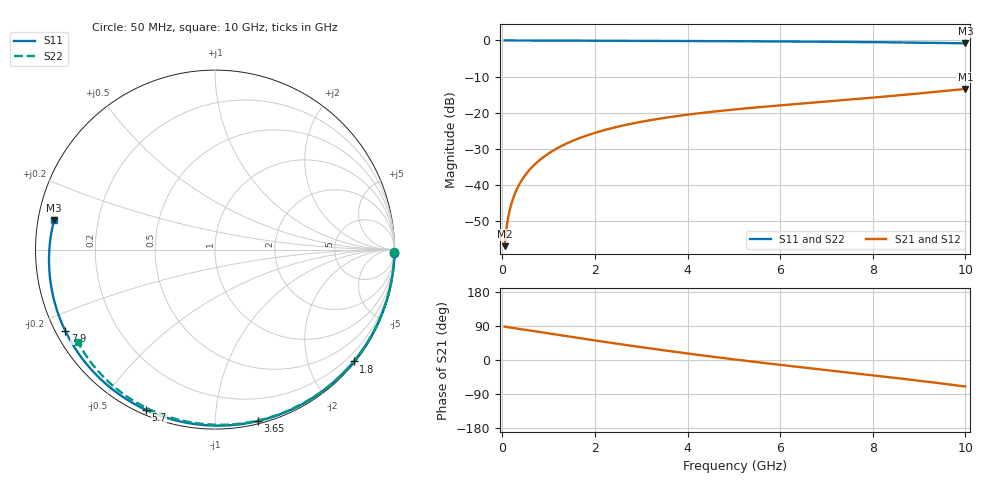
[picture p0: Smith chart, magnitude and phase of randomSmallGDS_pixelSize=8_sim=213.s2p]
! freq	dB(S11)	phase(S11)	dB(S12)	phase(S12)
!  dB(S21)	phase(S21)	dB(S22)	phase(S22)
!S-par simulation data
#  GHz  S  DB  R 50
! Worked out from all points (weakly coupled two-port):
!   200 points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, 50 MHz to 10 GHz, reference 50 ohm
!   highest |S21| = -13.38 dB at 10 GHz (marker M1); lowest = -56.8 dB at 50 MHz (marker M2)
!   lowest |S11| = -0.8 dB at 10 GHz (marker M3), VSWR 21.62, Z = 2.33 + j4.54 ohm
!   |S11| at or under -10 dB: nowhere
!   |S22| runs from -0.7 to 0.0 dB; largest |S21 - S12| = 0
!   S11 on the Smith chart (normalised r, x): 50 MHz: open; 1.8 GHz: 0.03, -2.83; 3.65 GHz: 0.02, -1.28; 5.7 GHz: 0.02, -0.66; 7.9 GHz: 0.03, -0.25; 10 GHz: 0.05, +0.09
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0.05  -0.00 -1.1  -56.82 88.4  -56.82 88.4  -0.00 -0.9
0.1  -0.00 -2.2  -50.86 87.1  -50.86 87.1  -0.00 -1.7
0.15  -0.00 -3.3  -47.40 86.0  -47.40 86.0  -0.00 -2.6
0.2  -0.00 -4.4  -44.95 85.0  -44.95 85.0  -0.00 -3.4
0.35  -0.01 -7.7  -40.18 82.3  -40.18 82.3  -0.00 -6.0
0.5  -0.01 -11.0  -37.12 79.6  -37.12 79.6  -0.01 -8.6
0.7  -0.02 -15.4  -34.25 75.9  -34.25 75.9  -0.01 -12.0
1  -0.03 -21.9  -31.22 70.2  -31.22 70.2  -0.02 -17.0
1.35  -0.04 -29.3  -28.70 63.6  -28.70 63.6  -0.03 -22.9
1.75  -0.06 -37.8  -26.59 56.2  -26.59 56.2  -0.05 -29.5
1.8  -0.06 -38.9  -26.36 55.3  -26.36 55.3  -0.05 -30.3
2.6  -0.09 -55.3  -23.51 40.8  -23.51 40.8  -0.07 -43.3
3.4  -0.12 -71.2  -21.59 27.0  -21.59 27.0  -0.10 -55.9
3.65  -0.13 -76.0  -21.11 22.9  -21.11 22.9  -0.11 -59.7
4.35  -0.17 -89.1  -19.96 11.6  -19.96 11.6  -0.14 -70.2
5.05  -0.20 -101.9  -19.02 0.9  -19.02 0.9  -0.17 -80.4
5.7  -0.25 -113.4  -18.26 -8.5  -18.26 -8.5  -0.21 -89.6
6.7  -0.33 -130.7  -17.19 -22.6  -17.19 -22.6  -0.28 -103.2
7.9  -0.45 -151.4  -15.90 -39.0  -15.90 -39.0  -0.39 -119.0
8.35  -0.51 -159.3  -15.40 -45.3  -15.40 -45.3  -0.44 -124.8
9.2  -0.65 -174.8  -14.39 -57.6  -14.39 -57.6  -0.56 -135.6
10  -0.80 169.6  -13.38 -70.0  -13.38 -70.0  -0.71 -145.9
